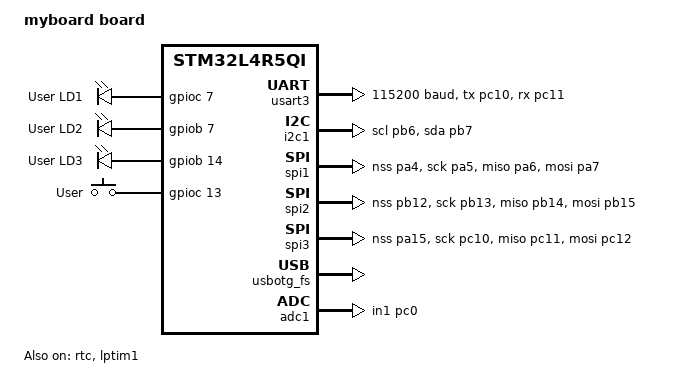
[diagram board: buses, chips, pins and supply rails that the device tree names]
/*
 * Copyright (c) 2018 Pushpal Sidhu
 *
 * SPDX-License-Identifier: Apache-2.0
 */

/dts-v1/;
#include <st/l4/stm32l4r5Xi.dtsi>
#include <st/l4/stm32l4r5q(g-i)ix-pinctrl.dtsi>

#if 0
#include <mem.h>
#include <st/l4/stm32l4r5.dtsi>
#include <st/l4/stm32l4r5q(g-i)ix-pinctrl.dtsi>
#endif

/*
#include <st/l4/stm32l4r5Xi.dtsi>

#include <st/l4/stm32l4r5.dtsi>
#include <st/l4/stm32l4r5q(g-i)ix-pinctrl.dtsi>
/*#include "arduino_r3_connector.dtsi"*/

/ {
	model = "myboard board";
	compatible = "st,stm32l4r5qi-myboard", "st,stm32l4r5qi";



	chosen {
		zephyr,console = &usart3;
		zephyr,shell-uart = &usart3;
		zephyr,sram = &sram0;
		zephyr,flash = &flash0;
		zephyr,code-partition = &slot0_partition;
	};

	leds {
		compatible = "gpio-leds";
		green_led_0: led_0 {
			gpios = <&gpioc 7 GPIO_ACTIVE_HIGH>;
			label = "User LD1";
		};

		blue_led_0: led_1 {
			gpios = <&gpiob 7 GPIO_ACTIVE_HIGH>;
			label = "User LD2";
		};

		red_led_0: led_2 {
			gpios = <&gpiob 14 GPIO_ACTIVE_HIGH>;
			label = "User LD3";
		};
	};

	gpio_keys {
		compatible = "gpio-keys";
		user_button: button {
			label = "User";
			gpios = <&gpioc 13 GPIO_ACTIVE_HIGH>;
		};
	};

	aliases {
		led0 = &green_led_0;
		led1 = &blue_led_0;
		led2 = &red_led_0;
		sw0 = &user_button;
	};
};

&usart1 {
	pinctrl-0 = <&usart1_tx_pa9 &usart1_rx_pa10>;
	current-speed = <115200>;
	status = "disabled";
};

&usart2 {
	pinctrl-0 = <&usart2_tx_pa2 &usart2_rx_pa3>;
	current-speed = <115200>;
	status = "disabled";
};

&usart3 {
	pinctrl-0 = <&usart3_tx_pc10 &usart3_rx_pc11>;
	current-speed = <115200>;
	status = "okay";
};

&lpuart1 {
	pinctrl-0 = <&lpuart1_tx_pg7 &lpuart1_rx_pg8>;
	current-speed = <115200>;
	status = "disabled";
};

&i2c1 {
	pinctrl-0 = <&i2c1_scl_pb6 &i2c1_sda_pb7>;
	status = "okay";
};

&spi1 {
	pinctrl-0 = <&spi1_nss_pa4 &spi1_sck_pa5
		     &spi1_miso_pa6 &spi1_mosi_pa7>;
	status = "okay";
};

&spi2 {
	pinctrl-0 = <&spi2_nss_pb12 &spi2_sck_pb13
		     &spi2_miso_pb14 &spi2_mosi_pb15>;
	status = "okay";
};

&spi3 {
	/* SPI3 on the ST Morpho Connector CN7 pins 17, 1, 2, 3*/
	pinctrl-0 = <&spi3_nss_pa15 &spi3_sck_pc10
		     &spi3_miso_pc11 &spi3_mosi_pc12>;
	status = "okay";
};

&usbotg_fs {
	status = "okay";
};
#if 0
&timers2 {
	status = "okay";

	pwm2: pwm {
		status = "okay";
		pinctrl-0 = <&tim2_ch1_pwm_pa0>;
	};
};
#endif 
&rtc {
	status = "okay";
};

&lptim1 {
	status = "okay";
};





&flash0 {

	partitions {
		compatible = "fixed-partitions";
		#address-cells = <1>;
		#size-cells = <1>;

		boot_partition: partition@0 {
			label = "mcuboot";
			reg = <0x00000000 0x00010000>;
			read-only;
		};

		/*
		 * The flash starting at 0x00010000 and ending at
		 * 0x0001ffff (sectors 16-31) is reserved for use
		 * by the application.
		 */
		storage_partition: partition@1e000 {
			label = "storage";
			reg = <0x0001e000 0x00002000>;
		};
		slot0_partition: partition@20000 {
			label = "image-0";
			reg = <0x00020000 0x00060000>;
		};
		slot1_partition: partition@80000 {
			label = "image-1";
			reg = <0x00080000 0x00060000>;
		};
		scratch_partition: partition@e0000 {
			label = "image-scratch";
			reg = <0x000e0000 0x00020000>;
		};
	};
};



&adc1 {
	pinctrl-0 = <&adc1_in1_pc0>;
	status = "okay";
};
